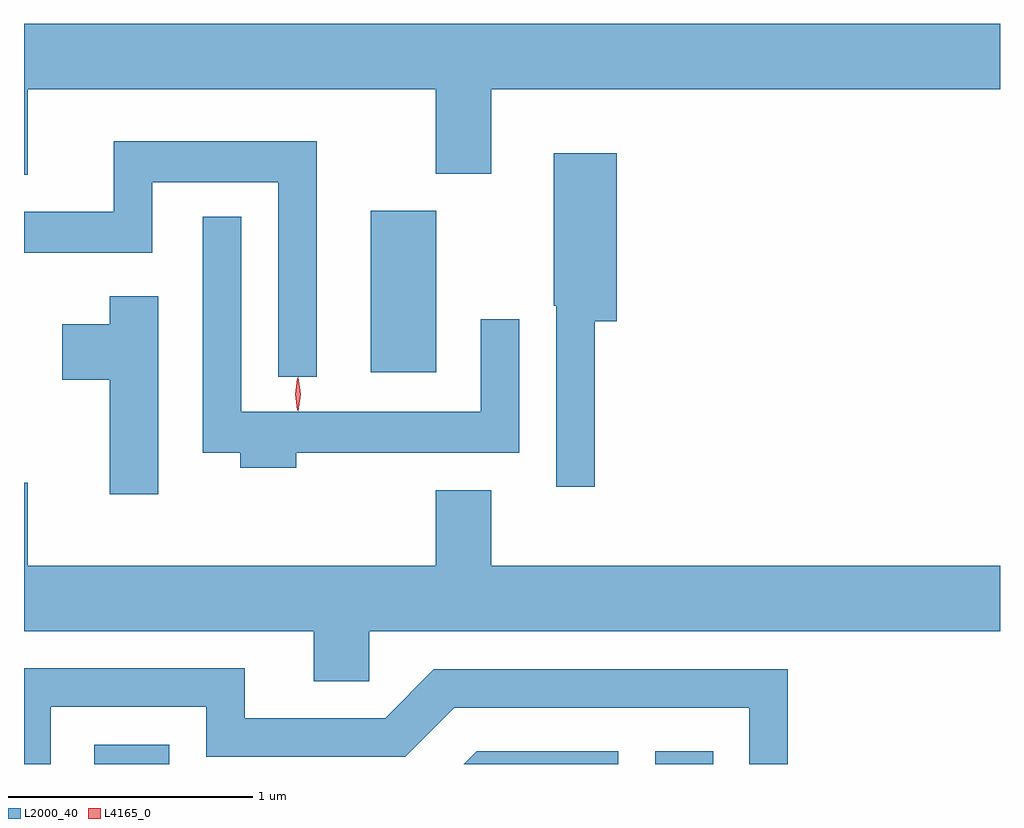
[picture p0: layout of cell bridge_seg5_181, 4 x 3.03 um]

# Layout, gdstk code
import gdstk
lib = gdstk.Library(unit=1e-6, precision=1e-09)
def R(c, l, rs):  # rectangles x0, y0, x1, y1
    for r in rs: c.add(gdstk.rectangle(r[:2], r[2:], *l))
def P(c, l, *ps):  # polygons
    for p in ps: c.add(gdstk.Polygon(p, *l))
L2000_40 = (2000, 40)
L4165_0 = (4165, 0)

bridge_seg5_181 = lib.new_cell('bridge_seg5_181')
R(bridge_seg5_181, L2000_40, [(1240.501,1414.071,1240.809,1414.149), (1242.801,1414.071,1243.038,1414.124), (1241.636,1415.676,1241.904,1416.339)])
P(bridge_seg5_181, L2000_40, [(1240.229,1416.836),(1241.901,1416.836),(1241.901,1416.491),(1242.129,1416.491),(1242.129,1416.836),(1244.214,1416.836),(1244.214,1417.104),(1240.214,1417.104),(1240.214,1416.486),(1240.229,1416.486)],
  [(1241.414,1416.624),(1240.581,1416.624),(1240.581,1416.334),(1240.214,1416.334),(1240.214,1416.166),(1240.739,1416.166),(1240.739,1416.456),(1241.256,1416.456),(1241.256,1415.658),(1241.414,1415.658)],
  [(1242.554,1415.886),(1242.644,1415.886),(1242.644,1416.574),(1242.386,1416.574),(1242.386,1415.95),(1242.396,1415.95),(1242.396,1415.208),(1242.554,1415.208)],
  [(1241.329,1415.346),(1242.244,1415.346),(1242.244,1415.893),(1242.086,1415.893),(1242.086,1415.514),(1241.104,1415.514),(1241.104,1416.313),(1240.946,1416.313),(1240.946,1415.346),(1241.101,1415.346),(1241.101,1415.286),(1241.329,1415.286)],
  [(1240.764,1415.989),(1240.566,1415.989),(1240.566,1415.874),(1240.371,1415.874),(1240.371,1415.646),(1240.566,1415.646),(1240.566,1415.176),(1240.764,1415.176)],
  [(1241.629,1414.616),(1244.214,1414.616),(1244.214,1414.884),(1242.129,1414.884),(1242.129,1415.194),(1241.901,1415.194),(1241.901,1414.884),(1240.229,1414.884),(1240.229,1415.224),(1240.214,1415.224),(1240.214,1414.616),(1241.401,1414.616),(1241.401,1414.411),(1241.629,1414.411)],
  [(1240.324,1414.306),(1240.961,1414.306),(1240.961,1414.101),(1241.777,1414.101),(1241.977,1414.301),(1243.186,1414.301),(1243.186,1414.071),(1243.344,1414.071),(1243.344,1414.459),(1241.894,1414.459),(1241.694,1414.259),(1241.119,1414.259),(1241.119,1414.464),(1240.214,1414.464),(1240.214,1414.071),(1240.324,1414.071)],
  [(1242.649,1414.124),(1242.069,1414.124),(1242.016,1414.071),(1242.649,1414.071)])
P(bridge_seg5_181, L4165_0, [(1241.337,1415.517),(1241.328,1415.587),(1241.337,1415.656),(1241.338,1415.656),(1241.338,1415.656),(1241.348,1415.587),(1241.338,1415.517),(1241.338,1415.517)],
  [(1241.334,1415.52),(1241.325,1415.586),(1241.334,1415.652),(1241.335,1415.653),(1241.336,1415.652),(1241.345,1415.586),(1241.336,1415.52),(1241.335,1415.52)])

lib.write_gds('bridge_seg5_181.gds')
